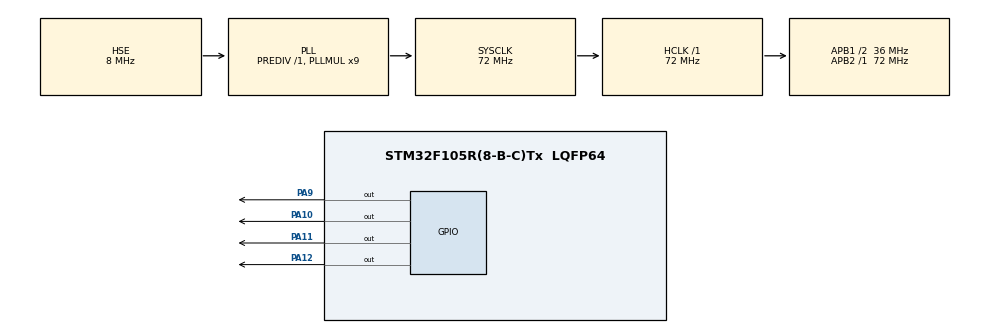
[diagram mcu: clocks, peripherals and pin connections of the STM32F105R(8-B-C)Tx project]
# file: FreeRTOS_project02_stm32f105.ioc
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FREERTOS.INCLUDE_vTaskDelayUntil=1
FREERTOS.Tasks01=defaultTask,0,128,StartDefaultTask,Default,NULL,Dynamic,NULL,NULL;myTask02,0,128,StartTask02,Default,NULL,Dynamic,NULL,NULL;myTask03,0,128,StartTask03,Default,NULL,Dynamic,NULL,NULL
FREERTOS.configUSE_NEWLIB_REENTRANT=1
Mcu.Family=STM32F1
Mcu.Name=STM32F105R(8-B-C)Tx
Mcu.Package=LQFP64
NVIC.PriorityGroup=NVIC_PRIORITYGROUP_4
NVIC.TIM1_UP_IRQn=true\:15\:0\:false\:false\:true\:false\:false\:true\:true
NVIC.TimeBase=TIM1_UP_IRQn
NVIC.TimeBaseIP=TIM1
PA10.Signal=GPIO_Output
PA11.Signal=GPIO_Output
PA12.Signal=GPIO_Output
PA13.Mode=Serial_Wire
PA13.Signal=SYS_JTMS-SWDIO
PA14.Mode=Serial_Wire
PA14.Signal=SYS_JTCK-SWCLK
PA9.Signal=GPIO_Output
PD0-OSC_IN.Mode=HSE-External-Oscillator
PD0-OSC_IN.Signal=RCC_OSC_IN
PD1-OSC_OUT.Mode=HSE-External-Oscillator
PD1-OSC_OUT.Signal=RCC_OSC_OUT
ProjectManager.HeapSize=0x200
ProjectManager.StackSize=0x400
ProjectManager.TargetToolchain=STM32CubeIDE
RCC.AHBFreq_Value=72000000
RCC.APB1CLKDivider=RCC_HCLK_DIV2
RCC.APB1Freq_Value=36000000
RCC.APB1TimFreq_Value=72000000
RCC.APB2Freq_Value=72000000
RCC.APB2TimFreq_Value=72000000
RCC.HCLKFreq_Value=72000000
RCC.PLLMUL=RCC_PLL_MUL9
RCC.PLLSourceVirtual=RCC_PLLSOURCE_HSE
RCC.SYSCLKFreq_VALUE=72000000
RCC.SYSCLKSource=RCC_SYSCLKSOURCE_PLLCLK
RCC.USBFreq_Value=48000000
VP_FREERTOS_VS_CMSIS_V1.Mode=CMSIS_V1
VP_SYS_VS_tim1.Mode=TIM1
board=custom

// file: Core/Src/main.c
/* USER CODE BEGIN Header */
/**
 ******************************************************************************
 * @file           : main.c
 * @brief          : Main program body
 ******************************************************************************
 * @attention
 *
 * Copyright (c) 2023 STMicroelectronics.
 * All rights reserved.
 *
 * This software is licensed under terms that can be found in the LICENSE file
 * in the root directory of this software component.
 * If no LICENSE file comes with this software, it is provided AS-IS.
 *
 ******************************************************************************
 */
/* USER CODE END Header */
#include "main.h"
#include "cmsis_os.h"

/* USER CODE BEGIN Includes */
#include "stdio.h"
/* USER CODE END Includes */

/* USER CODE BEGIN PTD */
int i=0;
/* USER CODE END PTD */

osThreadId defaultTaskHandle;
osThreadId myTask02Handle;
osThreadId myTask03Handle;

void SystemClock_Config(void);
static void MX_GPIO_Init(void);
void StartDefaultTask(void const * argument);
void StartTask02(void const * argument);
void StartTask03(void const * argument);

int main(void)
{

  /* MCU Configuration--------------------------------------------------------*/

  /* Reset of all peripherals, Initializes the Flash interface and the Systick. */
  HAL_Init();

  /* Configure the system clock */
  SystemClock_Config();

  /* Initialize all configured peripherals */
  MX_GPIO_Init();

  /* Create the thread(s) */
  /* definition and creation of defaultTask */
  osThreadDef(defaultTask, StartDefaultTask, osPriorityNormal, 0, 128);
  defaultTaskHandle = osThreadCreate(osThread(defaultTask), NULL);

  /* definition and creation of myTask02 */
  osThreadDef(myTask02, StartTask02, osPriorityNormal, 0, 128);
  myTask02Handle = osThreadCreate(osThread(myTask02), NULL);

  /* definition and creation of myTask03 */
  osThreadDef(myTask03, StartTask03, osPriorityNormal, 0, 128);
  myTask03Handle = osThreadCreate(osThread(myTask03), NULL);

  /* Start scheduler */
  osKernelStart();

  /* We should never get here as control is now taken by the scheduler */
  /* Infinite loop */
	while (1)
	{

	}
}

void SystemClock_Config(void)
{
  RCC_OscInitTypeDef RCC_OscInitStruct = {0};
  RCC_ClkInitTypeDef RCC_ClkInitStruct = {0};

  /** Initializes the RCC Oscillators according to the specified parameters
  * in the RCC_OscInitTypeDef structure.
  */
  RCC_OscInitStruct.OscillatorType = RCC_OSCILLATORTYPE_HSE;
  RCC_OscInitStruct.HSEState = RCC_HSE_ON;
  RCC_OscInitStruct.HSEPredivValue = RCC_HSE_PREDIV_DIV1;
  RCC_OscInitStruct.HSIState = RCC_HSI_ON;
  RCC_OscInitStruct.Prediv1Source = RCC_PREDIV1_SOURCE_HSE;
  RCC_OscInitStruct.PLL.PLLState = RCC_PLL_ON;
  RCC_OscInitStruct.PLL.PLLSource = RCC_PLLSOURCE_HSE;
  RCC_OscInitStruct.PLL.PLLMUL = RCC_PLL_MUL9;
  RCC_OscInitStruct.PLL2.PLL2State = RCC_PLL_NONE;
  if (HAL_RCC_OscConfig(&RCC_OscInitStruct) != HAL_OK)
  {
    Error_Handler();
  }

  /** Initializes the CPU, AHB and APB buses clocks
  */
  RCC_ClkInitStruct.ClockType = RCC_CLOCKTYPE_HCLK|RCC_CLOCKTYPE_SYSCLK
                              |RCC_CLOCKTYPE_PCLK1|RCC_CLOCKTYPE_PCLK2;
  RCC_ClkInitStruct.SYSCLKSource = RCC_SYSCLKSOURCE_PLLCLK;
  RCC_ClkInitStruct.AHBCLKDivider = RCC_SYSCLK_DIV1;
  RCC_ClkInitStruct.APB1CLKDivider = RCC_HCLK_DIV2;
  RCC_ClkInitStruct.APB2CLKDivider = RCC_HCLK_DIV1;

  if (HAL_RCC_ClockConfig(&RCC_ClkInitStruct, FLASH_LATENCY_2) != HAL_OK)
  {
    Error_Handler();
  }

  /** Configure the Systick interrupt time
  */
  __HAL_RCC_PLLI2S_ENABLE();
}

static void MX_GPIO_Init(void)
{
  GPIO_InitTypeDef GPIO_InitStruct = {0};

  /* GPIO Ports Clock Enable */
  __HAL_RCC_GPIOD_CLK_ENABLE();
  __HAL_RCC_GPIOA_CLK_ENABLE();

  /*Configure GPIO pin Output Level */
  HAL_GPIO_WritePin(GPIOA, GPIO_PIN_9|GPIO_PIN_10|GPIO_PIN_11|GPIO_PIN_12, GPIO_PIN_RESET);

  /*Configure GPIO pins : PA9 PA10 PA11 PA12 */
  GPIO_InitStruct.Pin = GPIO_PIN_9|GPIO_PIN_10|GPIO_PIN_11|GPIO_PIN_12;
  GPIO_InitStruct.Mode = GPIO_MODE_OUTPUT_PP;
  GPIO_InitStruct.Pull = GPIO_NOPULL;
  GPIO_InitStruct.Speed = GPIO_SPEED_FREQ_LOW;
  HAL_GPIO_Init(GPIOA, &GPIO_InitStruct);

}

void StartDefaultTask(void const * argument)
{
  /* USER CODE BEGIN 5 */
	/* Infinite loop */
	for(;;)
	{
		HAL_GPIO_WritePin(GPIOA, GPIO_PIN_9, GPIO_PIN_SET);
		osDelay(1000);
		i++;
		if(5<=i){
		osThreadSuspend(myTask03Handle);
		}
		if(15<=i){
		osThreadResume(myTask03Handle);
		}
	}
  /* USER CODE END 5 */
}

void StartTask02(void const * argument)
{
  /* USER CODE BEGIN StartTask02 */
	/* Infinite loop */
	for(;;)
	{
		if(i>20){
		HAL_GPIO_WritePin(GPIOA, GPIO_PIN_10, GPIO_PIN_SET);
		}
		osDelay(1500);
	}
  /* USER CODE END StartTask02 */
}

void StartTask03(void const * argument)
{
  /* USER CODE BEGIN StartTask03 */
	/* Infinite loop */
	for(;;)
	{
		HAL_GPIO_WritePin(GPIOA, GPIO_PIN_11, GPIO_PIN_SET);
		osDelay(1000);
		HAL_GPIO_WritePin(GPIOA, GPIO_PIN_11, GPIO_PIN_RESET);
		osDelay(1000);

	}
  /* USER CODE END StartTask03 */
}

void HAL_TIM_PeriodElapsedCallback(TIM_HandleTypeDef *htim)
{
  if (htim->Instance == TIM1) {
    HAL_IncTick();
  }
}

void Error_Handler(void)
{
	__disable_irq();
	while (1)
	{
	}
}
